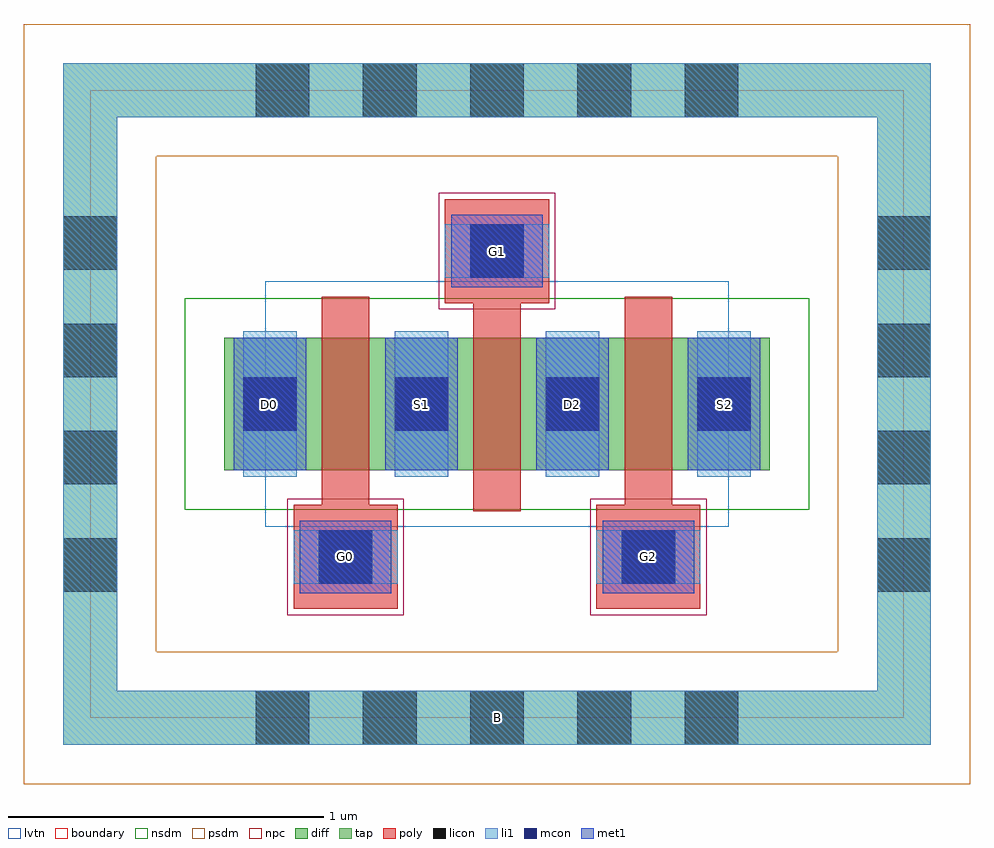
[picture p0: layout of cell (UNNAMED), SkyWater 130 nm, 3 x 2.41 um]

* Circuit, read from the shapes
.subckt (UNNAMED) B D0 D2 G0 G1 G2 S1 S2
XM1 S1 G0 D0 B sky130_fd_pr__nfet_01v8_lvt w=0.42 l=0.15
XM2 D2 G1 S1 B sky130_fd_pr__nfet_01v8_lvt w=0.42 l=0.15
XM3 S2 G2 D2 B sky130_fd_pr__nfet_01v8_lvt w=0.42 l=0.15
.ends

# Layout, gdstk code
import gdstk
lib = gdstk.Library(unit=1e-6, precision=1e-09)
def R(c, l, rs):  # rectangles x0, y0, x1, y1
    for r in rs: c.add(gdstk.rectangle(r[:2], r[2:], *l))
def A(c, l, x, y, w, h, nx, ny, dx, dy):  # array of equal rectangles
    R(c, l, [(x+i*dx, y+j*dy, x+i*dx+w, y+j*dy+h) for i in range(nx) for j in range(ny)])
diff = (65, 20)
tap = (65, 44)
poly = (66, 20)
licon = (66, 44)
li1 = (67, 20)
mcon = (67, 44)
met1 = (68, 20)
nsdm = (93, 44)
psdm = (94, 20)
npc = (95, 20)
lvtn = (125, 44)
boundary = (235, 4)

c__unnamed_ = lib.new_cell('(UNNAMED)')
R(c__unnamed_, diff, [(-0.865,-0.21,0.865,0.21)])
R(c__unnamed_, tap, [(-1.375,-1.08,1.375,-0.91), (-1.375,-0.91,-1.205,0.91), (1.205,-0.91,1.375,0.91), (-1.375,0.91,1.375,1.08)])
R(c__unnamed_, poly, [(-0.645,-0.65,-0.315,-0.32), (0.315,-0.65,0.645,-0.32), (-0.075,-0.34,0.075,0.32), (-0.555,-0.32,-0.405,0.34), (0.405,-0.32,0.555,0.34), (-0.165,0.32,0.165,0.65)])
A(c__unnamed_, licon, -0.765, -1.08, 0.17, 0.17, 5, 2, 0.34, 1.99)
A(c__unnamed_, licon, -1.375, -0.595, 0.17, 0.17, 1, 4, 0, 0.34)
A(c__unnamed_, licon, 1.205, -0.595, 0.17, 0.17, 1, 4, 0, 0.34)
A(c__unnamed_, licon, -0.805, -0.085, 0.17, 0.17, 4, 1, 0.48, 0)
R(c__unnamed_, licon, [(-0.565,-0.57,-0.395,-0.4), (0.395,-0.57,0.565,-0.4), (-0.085,0.4,0.085,0.57)])
A(c__unnamed_, li1, -0.805, -0.23, 0.17, 0.46, 4, 1, 0.48, 0)
R(c__unnamed_, li1, [(-1.375,-1.08,1.375,-0.91), (-1.375,-0.91,-1.205,0.91), (1.205,-0.91,1.375,0.91), (-0.645,-0.57,-0.315,-0.4), (0.315,-0.57,0.645,-0.4), (-0.165,0.4,0.165,0.57), (-1.375,0.91,1.375,1.08)])
A(c__unnamed_, mcon, -0.805, -0.085, 0.17, 0.17, 4, 1, 0.48, 0)
R(c__unnamed_, mcon, [(-0.565,-0.57,-0.395,-0.4), (0.395,-0.57,0.565,-0.4), (-0.085,0.4,0.085,0.57)])
A(c__unnamed_, met1, -0.835, -0.21, 0.23, 0.42, 4, 1, 0.48, 0)
R(c__unnamed_, met1, [(-0.625,-0.6,-0.335,-0.37), (0.335,-0.6,0.625,-0.37), (-0.145,0.37,0.145,0.6)])
R(c__unnamed_, nsdm, [(-0.99,-0.335,0.99,0.335)])
R(c__unnamed_, psdm, [(-1.5,-1.205,1.5,-0.785), (-1.5,-0.785,-1.08,0.785), (1.08,-0.785,1.5,0.785), (-1.5,0.785,1.5,1.205)])
R(c__unnamed_, npc, [(-0.665,-0.67,-0.295,-0.3), (0.295,-0.67,0.665,-0.3), (-0.185,0.3,0.185,0.67)])
R(c__unnamed_, lvtn, [(-0.735,-0.39,0.735,0.39)])
R(c__unnamed_, boundary, [(-1.29,-0.995,1.29,0.995)])
c__unnamed_.add(gdstk.Label('B', (0,-0.995), layer=67, texttype=5))
c__unnamed_.add(gdstk.Label('D0', (-0.72,0), layer=67, texttype=5))
c__unnamed_.add(gdstk.Label('G0', (-0.48,-0.485), layer=67, texttype=5))
c__unnamed_.add(gdstk.Label('S1', (-0.24,0), layer=67, texttype=5))
c__unnamed_.add(gdstk.Label('G1', (0,0.485), layer=67, texttype=5))
c__unnamed_.add(gdstk.Label('D2', (0.24,0), layer=67, texttype=5))
c__unnamed_.add(gdstk.Label('S2', (0.72,0), layer=67, texttype=5))
c__unnamed_.add(gdstk.Label('G2', (0.48,-0.485), layer=67, texttype=5))

lib.write_gds('_UNNAMED_.gds')
